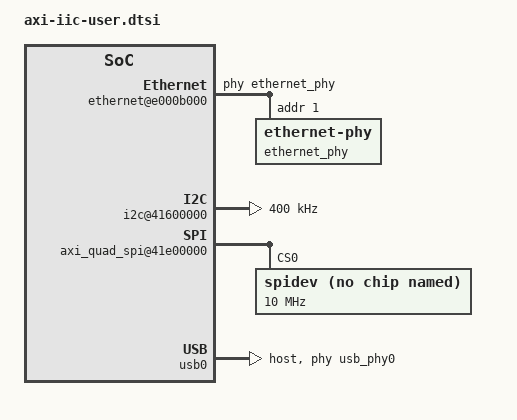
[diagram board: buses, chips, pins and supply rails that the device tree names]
/{
    axi {
        ethernet@e000b000 {
            phy-handle = <&ethernet_phy>;
            local-mac-address = [00 18 3E 04 C7 B0];
            // /delete-property/ enet-reset;
        /*	phy-reset-gpio = <&gpio0 GPIO_ACTIVE_LOW>;
            phy-reset-active-low;	
            phy-reset-duration = <10>;  */
            ethernet_phy: ethernet-phy@1 { /* rtl8211e-vl */
                reg = <1>;
                device_type = "ethernet-phy";
            };
        };

        // Disabeling the write ptotection on SD card so the rootFS can be eddited
        mmc@e0100000 {
            disable-wp;
            xlnx,has-wp = <0x00>;
        };

        usb_phy0: phy0@e0002000 {
            compatible = "ulpi-phy";
            #phy-cells = <0>;
            reg = <0xe0002000 0x1000>;
            view-port = <0x0170>;
            drv-vbus;
	    };
    };


    pl-bus {
        i2c@41600000 {
	        status = "okay";
                clock-frequency = <400000>;
	};

	axi_quad_spi@41e00000 {
		status = "okay";
                is-decoded-cs = <0>;
                xlnx,spi-mode = <0x03>;
                spidev@0 {
                  //compatible = "spidev";
                  // STUPID BUG
                  compatible = "rohm,dh2228fv";
                  reg = <0>;
                  spi-max-frequency = <10000000>; /* (10 MHz) */
                  status = "okay";
                };
	};

    };
};


&usb0 {	
	dr_mode = "host";
	usb-phy = <&usb_phy0>;
};
&amba {
	ptm@f889d000 {
		cpu = <&cpu0>;
	};
};
